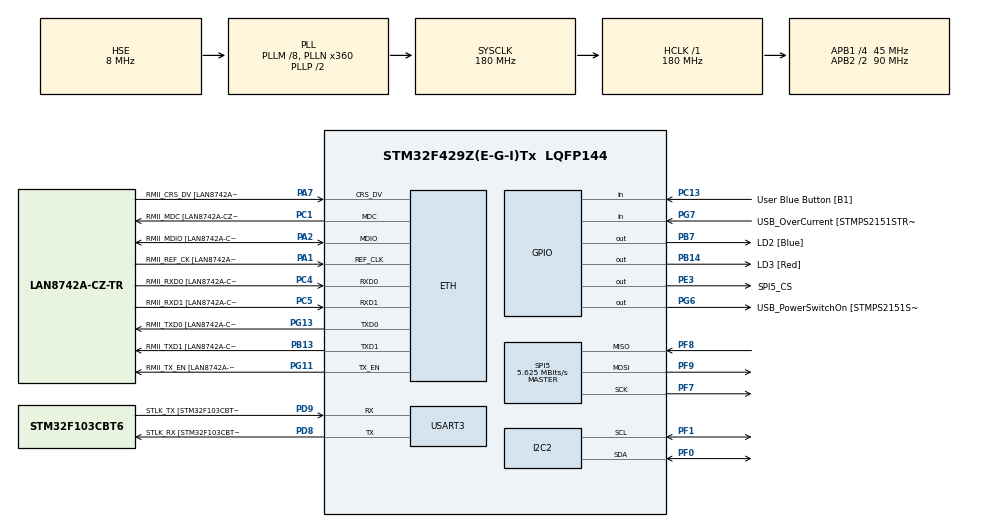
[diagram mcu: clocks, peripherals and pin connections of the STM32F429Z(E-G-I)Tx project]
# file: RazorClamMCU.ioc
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ETH.MediaInterface=ETH_MEDIA_INTERFACE_RMII
ETH.PhyAddress=0
FREERTOS.HEAP_NUMBER=3
FREERTOS.Tasks01=defaultTask,0,16384,StartDefaultTask,Default
FREERTOS.configTOTAL_HEAP_SIZE=0x20000
I2C2.I2C_Mode=I2C_Fast
LWIP.LWIP_COMPAT_SOCKETS=0
LWIP.LWIP_DNS=1
LWIP.LWIP_POSIX_SOCKETS_IO_NAMES=0
LWIP.LWIP_TCP_KEEPALIVE=1
LWIP.Version=v1.4.1_Cube
Mcu.Family=STM32F4
Mcu.Name=STM32F429Z(E-G-I)Tx
Mcu.Package=LQFP144
NVIC.ETH_IRQn=true\:5\:0\:false\:false\:true\:true
NVIC.PriorityGroup=NVIC_PRIORITYGROUP_4
NVIC.TIM1_UP_TIM10_IRQn=true\:0\:0\:false\:false\:true\:false
NVIC.TimeBase=TIM1_UP_TIM10_IRQn
NVIC.TimeBaseIP=TIM1
PA1.GPIO_Label=RMII_REF_CK [LAN8742A-CZ-TR_REFCLK0]
PA1.Mode=RMII
PA1.Signal=ETH_REF_CLK
PA10.GPIO_Label=USB_ID
PA10.Signal=USB_OTG_FS_ID
PA11.GPIO_Label=USB_DM
PA11.Signal=USB_OTG_FS_DM
PA12.GPIO_Label=USB_DP
PA12.Signal=USB_OTG_FS_DP
PA13.GPIO_Label=TMS
PA13.Mode=Serial-Wire
PA13.Signal=SYS_JTMS-SWDIO
PA14.GPIO_Label=TCK
PA14.Mode=Serial-Wire
PA14.Signal=SYS_JTCK-SWCLK
PA2.GPIO_Label=RMII_MDIO [LAN8742A-CZ-TR_MDIO]
PA2.Mode=RMII
PA2.Signal=ETH_MDIO
PA7.GPIO_Label=RMII_CRS_DV [LAN8742A-CZ-TR_CRS_DV]
PA7.Mode=RMII
PA7.Signal=ETH_CRS_DV
PA8.GPIO_Label=USB_SOF [TP1]
PA8.Signal=USB_OTG_FS_SOF
PA9.GPIO_Label=USB_VBUS
PA9.Signal=USB_OTG_FS_VBUS
PB13.GPIO_Label=RMII_TXD1 [LAN8742A-CZ-TR_TXD1]
PB13.Mode=RMII
PB13.Signal=ETH_TXD1
PB14.GPIO_Label=LD3 [Red]
PB14.Signal=GPIO_Output
PB7.GPIO_Label=LD2 [Blue]
PB7.Signal=GPIO_Output
PC1.GPIO_Label=RMII_MDC [LAN8742A-CZ-TR_MDC]
PC1.Mode=RMII
PC1.Signal=ETH_MDC
PC13.GPIO_Label=User Blue Button [B1]
PC13.Signal=GPIO_Input
PC14/OSC32_IN.Mode=LSE-External-Oscillator
PC14/OSC32_IN.Signal=RCC_OSC32_IN
PC15/OSC32_OUT.Mode=LSE-External-Oscillator
PC15/OSC32_OUT.Signal=RCC_OSC32_OUT
PC4.GPIO_Label=RMII_RXD0 [LAN8742A-CZ-TR_RXD0]
PC4.Mode=RMII
PC4.Signal=ETH_RXD0
PC5.GPIO_Label=RMII_RXD1 [LAN8742A-CZ-TR_RXD1]
PC5.Mode=RMII
PC5.Signal=ETH_RXD1
PD8.GPIO_Label=STLK_RX [STM32F103CBT6_PA3]
PD8.Mode=Asynchronous
PD8.Signal=USART3_TX
PD9.GPIO_Label=STLK_TX [STM32F103CBT6_PA2]
PD9.Mode=Asynchronous
PD9.Signal=USART3_RX
PE3.GPIO_Label=SPI5_CS
PE3.GPIO_PuPd=GPIO_PULLUP
PE3.GPIO_Speed=GPIO_SPEED_FREQ_MEDIUM
PE3.Signal=GPIO_Output
PF0.Mode=I2C
PF0.Signal=I2C2_SDA
PF1.Mode=I2C
PF1.Signal=I2C2_SCL
PF7.Mode=Full_Duplex_Master
PF7.Signal=SPI5_SCK
PF8.Mode=Full_Duplex_Master
PF8.Signal=SPI5_MISO
PF9.Mode=Full_Duplex_Master
PF9.Signal=SPI5_MOSI
PG11.GPIO_Label=RMII_TX_EN [LAN8742A-CZ-TR_TXEN]
PG11.Mode=RMII
PG11.Signal=ETH_TX_EN
PG13.GPIO_Label=RMII_TXD0 [LAN8742A-CZ-TR_TXD0]
PG13.Mode=RMII
PG13.Signal=ETH_TXD0
PG6.GPIO_Label=USB_PowerSwitchOn [STMPS2151STR_EN]
PG6.Signal=GPIO_Output
PG7.GPIO_Label=USB_OverCurrent [STMPS2151STR_FAULT]
PG7.Signal=GPIO_Input
PH0/OSC_IN.GPIO_Label=MCO [STM32F103CBT6_PA8]
PH0/OSC_IN.Mode=HSE-External-Clock-Source
PH0/OSC_IN.Signal=RCC_OSC_IN
PH1/OSC_OUT.Mode=HSE-External-Clock-Source
PH1/OSC_OUT.Signal=RCC_OSC_OUT
ProjectManager.HeapSize=0x400
ProjectManager.StackSize=0x200
ProjectManager.TargetToolchain=TrueSTUDIO
RCC.48MHZClocksFreq_Value=45000000
RCC.AHBFreq_Value=180000000
RCC.APB1CLKDivider=RCC_HCLK_DIV4
RCC.APB1Freq_Value=45000000
RCC.APB1TimFreq_Value=90000000
RCC.APB2CLKDivider=RCC_HCLK_DIV2
RCC.APB2Freq_Value=90000000
RCC.APB2TimFreq_Value=180000000
RCC.CortexFreq_Value=180000000
RCC.HCLKFreq_Value=180000000
RCC.HSE_VALUE=8000000
RCC.HSI_VALUE=8000000
RCC.PLLM=8
RCC.PLLMUL=RCC_PLL_MUL9
RCC.PLLN=360
RCC.PLLQ=8
RCC.PLLSourceVirtual=RCC_PLLSOURCE_HSE
RCC.PRESCALERUSB=RCC_USBCLKSOURCE_PLL_DIV1_5
RCC.RCC_RTC_Clock_Source=RCC_RTCCLKSOURCE_LSE
RCC.RCC_RTC_Clock_SourceVirtual=RCC_RTCCLKSOURCE_LSE
RCC.SYSCLKFreq_VALUE=180000000
RCC.SYSCLKSource=RCC_SYSCLKSOURCE_PLLCLK
RCC.SYSCLKSourceVirtual=RCC_SYSCLKSOURCE_PLLCLK
RCC.USBFreq_Value=48000000
RCC.VCOOutputFreq_Value=360000000
RTC.Format=RTC_FORMAT_BIN
SPI5.BaudRatePrescaler=SPI_BAUDRATEPRESCALER_16
SPI5.CalculateBaudRate=5.625 MBits/s
SPI5.Mode=SPI_MODE_MASTER
VP_FREERTOS_VS_ENABLE.Mode=Enabled
VP_LWIP_VS_Enabled.Mode=Enabled
VP_RNG_VS_RNG.Mode=RNG_Activate
VP_RTC_VS_RTC_Alarm_A_Intern.Mode=Alarm A
VP_SYS_VS_tim1.Mode=TIM1
board=NUCLEO-F429ZI

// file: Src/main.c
/**
  ******************************************************************************
  * File Name          : main.c
  * Description        : Main program body
  ******************************************************************************
  *
  * COPYRIGHT(c) 2017 STMicroelectronics
  *
  * Redistribution and use in source and binary forms, with or without modification,
  * are permitted provided that the following conditions are met:
  *   1. Redistributions of source code must retain the above copyright notice,
  *      this list of conditions and the following disclaimer.
  *   2. Redistributions in binary form must reproduce the above copyright notice,
  *      this list of conditions and the following disclaimer in the documentation
  *      and/or other materials provided with the distribution.
  *   3. Neither the name of STMicroelectronics nor the names of its contributors
  *      may be used to endorse or promote products derived from this software
  *      without specific prior written permission.
  *
  * THIS SOFTWARE IS PROVIDED BY THE COPYRIGHT HOLDERS AND CONTRIBUTORS "AS IS"
  * AND ANY EXPRESS OR IMPLIED WARRANTIES, INCLUDING, BUT NOT LIMITED TO, THE
  * IMPLIED WARRANTIES OF MERCHANTABILITY AND FITNESS FOR A PARTICULAR PURPOSE ARE
  * DISCLAIMED. IN NO EVENT SHALL THE COPYRIGHT HOLDER OR CONTRIBUTORS BE LIABLE
  * FOR ANY DIRECT, INDIRECT, INCIDENTAL, SPECIAL, EXEMPLARY, OR CONSEQUENTIAL
  * DAMAGES (INCLUDING, BUT NOT LIMITED TO, PROCUREMENT OF SUBSTITUTE GOODS OR
  * SERVICES; LOSS OF USE, DATA, OR PROFITS; OR BUSINESS INTERRUPTION) HOWEVER
  * CAUSED AND ON ANY THEORY OF LIABILITY, WHETHER IN CONTRACT, STRICT LIABILITY,
  * OR TORT (INCLUDING NEGLIGENCE OR OTHERWISE) ARISING IN ANY WAY OUT OF THE USE
  * OF THIS SOFTWARE, EVEN IF ADVISED OF THE POSSIBILITY OF SUCH DAMAGE.
  *
  ******************************************************************************
  */
#include "stm32f4xx_hal.h"
#include "cmsis_os.h"
#include "lwip.h"

/* USER CODE BEGIN Includes */
#include <sys/time.h>
#include <time.h>
#include "TisTpmDrv.h"
#include "NTPClient.h"
#include "TpmUtil.h"

#define SPECIFIC_CYCLE_DELAY (78)

/* USER CODE END Includes */

I2C_HandleTypeDef hi2c2;

RNG_HandleTypeDef hrng;

RTC_HandleTypeDef hrtc;

SPI_HandleTypeDef hspi5;

UART_HandleTypeDef huart3;

osThreadId defaultTaskHandle;

/* USER CODE BEGIN PV */
/* Private variables ---------------------------------------------------------*/
extern struct netif *netif_default;
extern uint32_t g_UsingLocality;
char tzName[] = "PST";
char dstName[] = "PDT";

/* USER CODE END PV */

void SystemClock_Config(void);
static void MX_GPIO_Init(void);
static void MX_I2C2_Init(void);
static void MX_RNG_Init(void);
static void MX_RTC_Init(void);
static void MX_USART3_UART_Init(void);
static void MX_SPI5_Init(void);
void StartDefaultTask(void const * argument);

/* USER CODE BEGIN PFP */
/* Private function prototypes -----------------------------------------------*/
int _settimeofday(struct timeval *tv, struct timezone *tz);
uint32_t RazorClam(void);

/* USER CODE END PFP */

/* USER CODE BEGIN 0 */
void printIP()
{
    printf("IF[%c%c]: %u.%u.%u.%u/%u.%u.%u.%u, GW:%u.%u.%u.%u\r\n",
            netif_default->name[0],
            netif_default->name[1],
            (uint8_t)(netif_default->ip_addr.addr & 0x000000FF),
            (uint8_t)((netif_default->ip_addr.addr & 0x0000FF00) >> 8),
            (uint8_t)((netif_default->ip_addr.addr & 0x00FF0000) >> 16),
            (uint8_t)((netif_default->ip_addr.addr & 0xFF000000) >> 24),
            (uint8_t)(netif_default->netmask.addr & 0x000000FF),
            (uint8_t)((netif_default->netmask.addr & 0x0000FF00) >> 8),
            (uint8_t)((netif_default->netmask.addr & 0x00FF0000) >> 16),
            (uint8_t)((netif_default->netmask.addr & 0xFF000000) >> 24),
            (uint8_t)(netif_default->gw.addr & 0x000000FF),
            (uint8_t)((netif_default->gw.addr & 0x0000FF00) >> 8),
            (uint8_t)((netif_default->gw.addr & 0x00FF0000) >> 16),
            (uint8_t)((netif_default->gw.addr & 0xFF000000) >> 24));
}

void set_time(time_t t)
{
    struct timeval tv = {(long)t, 0};
    _settimeofday(&tv, NULL);
}

time_t* ApplyTimeZoneAndDst(time_t* t)
{
    *t = *t + _timezone + (_daylight * 60 * 60);
    return t;

}

/* USER CODE END 0 */

int main(void)
{

  /* MCU Configuration----------------------------------------------------------*/

  /* Reset of all peripherals, Initializes the Flash interface and the Systick. */
  HAL_Init();

  /* Configure the system clock */
  SystemClock_Config();

  /* Initialize all configured peripherals */
  MX_GPIO_Init();
  MX_I2C2_Init();
  MX_RNG_Init();
  MX_RTC_Init();
  MX_USART3_UART_Init();
  MX_SPI5_Init();

  /* USER CODE BEGIN 2 */

#ifdef I2CTPM
#ifdef SPECIFIC_CYCLE_DELAY
  TpmAdjustSpinWait(SPECIFIC_CYCLE_DELAY);
#else
  printf("ADD: #define SPECIFIC_CYCLE_DELAY (%d)\r\n", TpmAdjustSpinWait(DETECT_CYCLE_DELAY));
#endif
#endif

  // Make sure we have a TPM, not having one is fatal
  uint32_t retVal = 0;
  if(((retVal = DetectTpm()) != HAL_OK) ||
     (RequestLocality(TIS_LOCALITY_0) != HAL_OK))
  {
      printf("No TPM detected.\r\n");
      for(;;);
  }
  g_UsingLocality = (uint32_t)TIS_LOCALITY_0;
  printf("TPM available and ready.\r\n");

  // Pushbutton provisioning
  if(HAL_GPIO_ReadPin(User_Blue_Button_GPIO_Port, User_Blue_Button_Pin) == GPIO_PIN_SET)
  {
      uint8_t releaseMsg = 0x00;
      printf("Clearing and provisioning TPM...\r\n");
      if((retVal = TpmUtilClearAndProvision()) != TPM_RC_SUCCESS)
      {
          printf("TpmUtilClearAndProvision() failed.\r\n");
          for(;;);
      }
      printf("Clearing and provisioning TPM complete.\r\n");
      while(HAL_GPIO_ReadPin(User_Blue_Button_GPIO_Port, User_Blue_Button_Pin) == GPIO_PIN_SET)
      {
          if(!releaseMsg)
          {
              printf("Release button to continue...\r\n");
              releaseMsg = 0x01;
          }
          HAL_Delay(10);
      }
  }

  if(TpmUtilLoadPersistedData() != HAL_OK)
  {
      printf("Persisted data invalid.\r\n");
      for(;;);
  }
  if((retVal = RazorClam()) != TPM_RC_SUCCESS)
  {
      printf("RazorClam() failed.\r\n");
      for(;;);
  }
  /* USER CODE END 2 */

  /* Create the thread(s) */
  /* definition and creation of defaultTask */
  osThreadDef(defaultTask, StartDefaultTask, osPriorityNormal, 0, 16384);
  defaultTaskHandle = osThreadCreate(osThread(defaultTask), NULL);

  /* Start scheduler */
  osKernelStart();

  /* We should never get here as control is now taken by the scheduler */

  /* Infinite loop */
  while (1)
  {

  }

}

/** System Clock Configuration
*/
void SystemClock_Config(void)
{

  RCC_OscInitTypeDef RCC_OscInitStruct;
  RCC_ClkInitTypeDef RCC_ClkInitStruct;
  RCC_PeriphCLKInitTypeDef PeriphClkInitStruct;

  __HAL_RCC_PWR_CLK_ENABLE();

  __HAL_PWR_VOLTAGESCALING_CONFIG(PWR_REGULATOR_VOLTAGE_SCALE1);

  RCC_OscInitStruct.OscillatorType = RCC_OSCILLATORTYPE_HSE|RCC_OSCILLATORTYPE_LSE;
  RCC_OscInitStruct.HSEState = RCC_HSE_BYPASS;
  RCC_OscInitStruct.LSEState = RCC_LSE_ON;
  RCC_OscInitStruct.PLL.PLLState = RCC_PLL_ON;
  RCC_OscInitStruct.PLL.PLLSource = RCC_PLLSOURCE_HSE;
  RCC_OscInitStruct.PLL.PLLM = 8;
  RCC_OscInitStruct.PLL.PLLN = 360;
  RCC_OscInitStruct.PLL.PLLP = RCC_PLLP_DIV2;
  RCC_OscInitStruct.PLL.PLLQ = 8;
  HAL_RCC_OscConfig(&RCC_OscInitStruct);

  HAL_PWREx_EnableOverDrive();

  RCC_ClkInitStruct.ClockType = RCC_CLOCKTYPE_HCLK|RCC_CLOCKTYPE_SYSCLK
                              |RCC_CLOCKTYPE_PCLK1|RCC_CLOCKTYPE_PCLK2;
  RCC_ClkInitStruct.SYSCLKSource = RCC_SYSCLKSOURCE_PLLCLK;
  RCC_ClkInitStruct.AHBCLKDivider = RCC_SYSCLK_DIV1;
  RCC_ClkInitStruct.APB1CLKDivider = RCC_HCLK_DIV4;
  RCC_ClkInitStruct.APB2CLKDivider = RCC_HCLK_DIV2;
  HAL_RCC_ClockConfig(&RCC_ClkInitStruct, FLASH_LATENCY_5);

  PeriphClkInitStruct.PeriphClockSelection = RCC_PERIPHCLK_RTC;
  PeriphClkInitStruct.RTCClockSelection = RCC_RTCCLKSOURCE_LSE;
  HAL_RCCEx_PeriphCLKConfig(&PeriphClkInitStruct);

  HAL_SYSTICK_Config(HAL_RCC_GetHCLKFreq()/1000);

  HAL_SYSTICK_CLKSourceConfig(SYSTICK_CLKSOURCE_HCLK);

  /* SysTick_IRQn interrupt configuration */
  HAL_NVIC_SetPriority(SysTick_IRQn, 15, 0);
}

/* I2C2 init function */
void MX_I2C2_Init(void)
{

  hi2c2.Instance = I2C2;
  hi2c2.Init.ClockSpeed = 400000;
  hi2c2.Init.DutyCycle = I2C_DUTYCYCLE_2;
  hi2c2.Init.OwnAddress1 = 0;
  hi2c2.Init.AddressingMode = I2C_ADDRESSINGMODE_7BIT;
  hi2c2.Init.DualAddressMode = I2C_DUALADDRESS_DISABLE;
  hi2c2.Init.OwnAddress2 = 0;
  hi2c2.Init.GeneralCallMode = I2C_GENERALCALL_DISABLE;
  hi2c2.Init.NoStretchMode = I2C_NOSTRETCH_DISABLE;
  HAL_I2C_Init(&hi2c2);

}

/* RNG init function */
void MX_RNG_Init(void)
{

  hrng.Instance = RNG;
  HAL_RNG_Init(&hrng);

}

/* RTC init function */
void MX_RTC_Init(void)
{

  RTC_TimeTypeDef sTime;
  RTC_DateTypeDef sDate;
  RTC_AlarmTypeDef sAlarm;

    /**Initialize RTC and set the Time and Date
    */
  hrtc.Instance = RTC;
  hrtc.Init.HourFormat = RTC_HOURFORMAT_24;
  hrtc.Init.AsynchPrediv = 127;
  hrtc.Init.SynchPrediv = 255;
  hrtc.Init.OutPut = RTC_OUTPUT_DISABLE;
  hrtc.Init.OutPutPolarity = RTC_OUTPUT_POLARITY_HIGH;
  hrtc.Init.OutPutType = RTC_OUTPUT_TYPE_OPENDRAIN;
  HAL_RTC_Init(&hrtc);

  sTime.Hours = 0;
  sTime.Minutes = 0;
  sTime.Seconds = 0;
  sTime.DayLightSaving = RTC_DAYLIGHTSAVING_NONE;
  sTime.StoreOperation = RTC_STOREOPERATION_RESET;
  HAL_RTC_SetTime(&hrtc, &sTime, RTC_FORMAT_BIN);

  sDate.WeekDay = RTC_WEEKDAY_MONDAY;
  sDate.Month = RTC_MONTH_JANUARY;
  sDate.Date = 1;
  sDate.Year = 0;

  HAL_RTC_SetDate(&hrtc, &sDate, RTC_FORMAT_BIN);

    /**Enable the Alarm A
    */
  sAlarm.AlarmTime.Hours = 0;
  sAlarm.AlarmTime.Minutes = 0;
  sAlarm.AlarmTime.Seconds = 0;
  sAlarm.AlarmTime.SubSeconds = 0;
  sAlarm.AlarmTime.DayLightSaving = RTC_DAYLIGHTSAVING_NONE;
  sAlarm.AlarmTime.StoreOperation = RTC_STOREOPERATION_RESET;
  sAlarm.AlarmMask = RTC_ALARMMASK_NONE;
  sAlarm.AlarmSubSecondMask = RTC_ALARMSUBSECONDMASK_ALL;
  sAlarm.AlarmDateWeekDaySel = RTC_ALARMDATEWEEKDAYSEL_DATE;
  sAlarm.AlarmDateWeekDay = 1;
  sAlarm.Alarm = RTC_ALARM_A;
  HAL_RTC_SetAlarm(&hrtc, &sAlarm, RTC_FORMAT_BIN);

}

/* SPI5 init function */
void MX_SPI5_Init(void)
{

  hspi5.Instance = SPI5;
  hspi5.Init.Mode = SPI_MODE_MASTER;
  hspi5.Init.Direction = SPI_DIRECTION_2LINES;
  hspi5.Init.DataSize = SPI_DATASIZE_8BIT;
  hspi5.Init.CLKPolarity = SPI_POLARITY_LOW;
  hspi5.Init.CLKPhase = SPI_PHASE_1EDGE;
  hspi5.Init.NSS = SPI_NSS_SOFT;
  hspi5.Init.BaudRatePrescaler = SPI_BAUDRATEPRESCALER_16;
  hspi5.Init.FirstBit = SPI_FIRSTBIT_MSB;
  hspi5.Init.TIMode = SPI_TIMODE_DISABLE;
  hspi5.Init.CRCCalculation = SPI_CRCCALCULATION_DISABLE;
  hspi5.Init.CRCPolynomial = 10;
  HAL_SPI_Init(&hspi5);
}

/* USART3 init function */
void MX_USART3_UART_Init(void)
{

  huart3.Instance = USART3;
  huart3.Init.BaudRate = 115200;
  huart3.Init.WordLength = UART_WORDLENGTH_8B;
  huart3.Init.StopBits = UART_STOPBITS_1;
  huart3.Init.Parity = UART_PARITY_NONE;
  huart3.Init.Mode = UART_MODE_TX_RX;
  huart3.Init.HwFlowCtl = UART_HWCONTROL_NONE;
  huart3.Init.OverSampling = UART_OVERSAMPLING_16;
  HAL_UART_Init(&huart3);

}

/** Configure pins as
        * Analog
        * Input
        * Output
        * EVENT_OUT
        * EXTI
     PA8   ------> USB_OTG_FS_SOF
     PA9   ------> USB_OTG_FS_VBUS
     PA10   ------> USB_OTG_FS_ID
     PA11   ------> USB_OTG_FS_DM
     PA12   ------> USB_OTG_FS_DP
*/
void MX_GPIO_Init(void)
{

  GPIO_InitTypeDef GPIO_InitStruct;

  /* GPIO Ports Clock Enable */
  __HAL_RCC_GPIOE_CLK_ENABLE();
  __HAL_RCC_GPIOC_CLK_ENABLE();
  __HAL_RCC_GPIOF_CLK_ENABLE();
  __HAL_RCC_GPIOH_CLK_ENABLE();
  __HAL_RCC_GPIOA_CLK_ENABLE();
  __HAL_RCC_GPIOB_CLK_ENABLE();
  __HAL_RCC_GPIOD_CLK_ENABLE();
  __HAL_RCC_GPIOG_CLK_ENABLE();

  /*Configure GPIO pin Output Level */
  HAL_GPIO_WritePin(SPI5_CS_GPIO_Port, SPI5_CS_Pin, GPIO_PIN_SET);

  /*Configure GPIO pin Output Level */
  HAL_GPIO_WritePin(GPIOB, LD3_Pin|LD2_Pin, GPIO_PIN_RESET);

  /*Configure GPIO pin Output Level */
  HAL_GPIO_WritePin(USB_PowerSwitchOn_GPIO_Port, USB_PowerSwitchOn_Pin, GPIO_PIN_RESET);

  /*Configure GPIO pin : SPI5_CS_Pin */
  GPIO_InitStruct.Pin = SPI5_CS_Pin;
  GPIO_InitStruct.Mode = GPIO_MODE_OUTPUT_PP;
  GPIO_InitStruct.Pull = GPIO_PULLUP;
  GPIO_InitStruct.Speed = GPIO_SPEED_FREQ_MEDIUM;
  HAL_GPIO_Init(SPI5_CS_GPIO_Port, &GPIO_InitStruct);

  /*Configure GPIO pin : User_Blue_Button_Pin */
  GPIO_InitStruct.Pin = User_Blue_Button_Pin;
  GPIO_InitStruct.Mode = GPIO_MODE_INPUT;
  GPIO_InitStruct.Pull = GPIO_NOPULL;
  HAL_GPIO_Init(User_Blue_Button_GPIO_Port, &GPIO_InitStruct);

  /*Configure GPIO pins : LD3_Pin LD2_Pin */
  GPIO_InitStruct.Pin = LD3_Pin|LD2_Pin;
  GPIO_InitStruct.Mode = GPIO_MODE_OUTPUT_PP;
  GPIO_InitStruct.Pull = GPIO_NOPULL;
  GPIO_InitStruct.Speed = GPIO_SPEED_FREQ_LOW;
  HAL_GPIO_Init(GPIOB, &GPIO_InitStruct);

  /*Configure GPIO pin : USB_PowerSwitchOn_Pin */
  GPIO_InitStruct.Pin = USB_PowerSwitchOn_Pin;
  GPIO_InitStruct.Mode = GPIO_MODE_OUTPUT_PP;
  GPIO_InitStruct.Pull = GPIO_NOPULL;
  GPIO_InitStruct.Speed = GPIO_SPEED_FREQ_LOW;
  HAL_GPIO_Init(USB_PowerSwitchOn_GPIO_Port, &GPIO_InitStruct);

  /*Configure GPIO pin : USB_OverCurrent_Pin */
  GPIO_InitStruct.Pin = USB_OverCurrent_Pin;
  GPIO_InitStruct.Mode = GPIO_MODE_INPUT;
  GPIO_InitStruct.Pull = GPIO_NOPULL;
  HAL_GPIO_Init(USB_OverCurrent_GPIO_Port, &GPIO_InitStruct);

  /*Configure GPIO pins : USB_SOF_Pin USB_ID_Pin USB_DM_Pin USB_DP_Pin */
  GPIO_InitStruct.Pin = USB_SOF_Pin|USB_ID_Pin|USB_DM_Pin|USB_DP_Pin;
  GPIO_InitStruct.Mode = GPIO_MODE_AF_PP;
  GPIO_InitStruct.Pull = GPIO_NOPULL;
  GPIO_InitStruct.Speed = GPIO_SPEED_FREQ_VERY_HIGH;
  GPIO_InitStruct.Alternate = GPIO_AF10_OTG_FS;
  HAL_GPIO_Init(GPIOA, &GPIO_InitStruct);

  /*Configure GPIO pin : USB_VBUS_Pin */
  GPIO_InitStruct.Pin = USB_VBUS_Pin;
  GPIO_InitStruct.Mode = GPIO_MODE_INPUT;
  GPIO_InitStruct.Pull = GPIO_NOPULL;
  HAL_GPIO_Init(USB_VBUS_GPIO_Port, &GPIO_InitStruct);

}

/* StartDefaultTask function */
void StartDefaultTask(void const * argument)
{
  /* init code for LWIP */
  MX_LWIP_Init();

  /* USER CODE BEGIN 5 */

  // Wait for the DHCP to provide us with an IP
  while(netif_default->ip_addr.addr == 0)
  {
      osDelay(10);
  }
  printIP();

  // Set the RTC to UTC
  _timezone = (-8) * 60 * 60; //PST
  _daylight = 1;              //DST on -> PDT
  _tzname[0] = tzName;
  _tzname[1] = dstName;
  time_t ntpTime = {0};
  if(NtpGetTime("0.pool.ntp.org", 4000, &ntpTime) == HAL_OK)
  {
      time_t now = time(NULL);
      set_time(ntpTime);
      // The RTC needs some time to reflect the new time
      do
      {
          if((now = time(NULL)) < ntpTime)
          {
              osDelay(250);
          }
          else
          {
              char* timeStr = asctime(localtime(ApplyTimeZoneAndDst(&now)));
              timeStr[strlen(timeStr) - 1] = 0; // Remove \n at the end of the string
              printf("TIME: %s %s\r\n", timeStr, _tzname[_daylight]);
              break;
          }
      }
      while(now < ntpTime);
  }

  /* Infinite loop */
  for(;;)
  {
      osDelay(1);
  }
  /* USER CODE END 5 */
}

/************************ (C) COPYRIGHT STMicroelectronics *****END OF FILE****/
